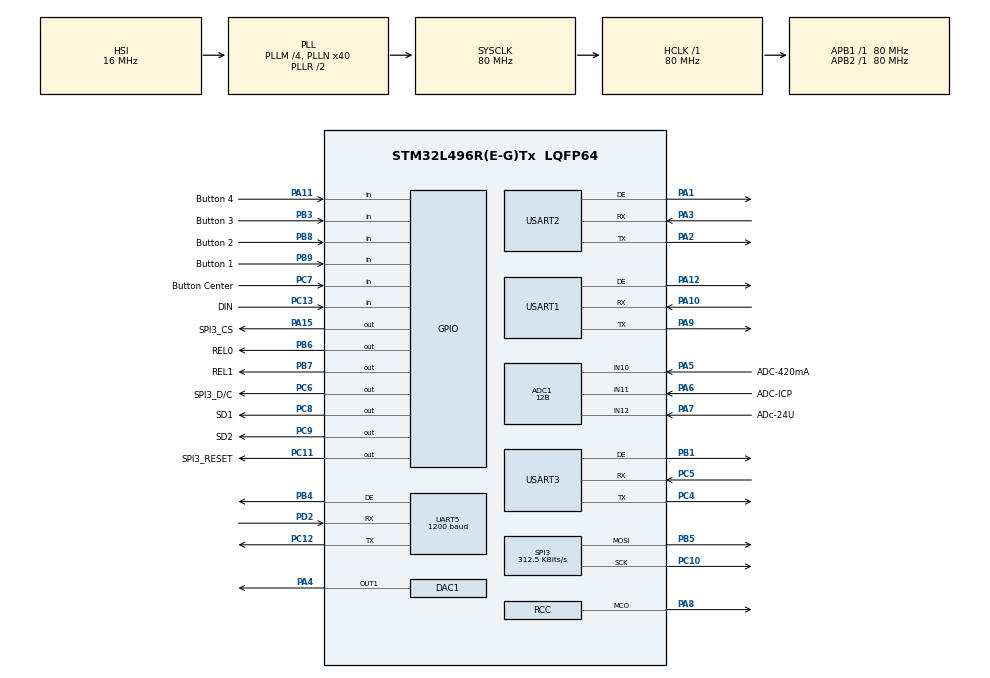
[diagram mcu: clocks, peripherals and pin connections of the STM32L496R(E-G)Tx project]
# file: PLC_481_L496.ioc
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ADC1.Channel-0\#ChannelRegularConversion=ADC_CHANNEL_11
ADC1.Channel-1\#ChannelRegularConversion=ADC_CHANNEL_10
ADC1.ClockPrescaler=ADC_CLOCK_ASYNC_DIV1
ADC1.ContinuousConvMode=DISABLE
ADC1.DMAContinuousRequests=ENABLE
ADC1.DataAlign=ADC_DATAALIGN_RIGHT
ADC1.DiscontinuousConvMode=DISABLE
ADC1.EOCSelection=ADC_EOC_SINGLE_CONV
ADC1.EnableAnalogWatchDog1=false
ADC1.EnableAnalogWatchDog2=false
ADC1.EnableAnalogWatchDog3=false
ADC1.EnableInjectedConversion=ENABLE
ADC1.EnableRegularConversion=ENABLE
ADC1.ExternalTrigConv=ADC_EXTERNALTRIG_T6_TRGO
ADC1.ExternalTrigConvEdge=ADC_EXTERNALTRIGCONVEDGE_RISING
ADC1.InjNumberOfConversion=1
ADC1.InjectedChannel-2\#ChannelInjectedConversion=ADC_CHANNEL_12
ADC1.InjectedOffsetNumber-2\#ChannelInjectedConversion=ADC_OFFSET_NONE
ADC1.InjectedRank-2\#ChannelInjectedConversion=1
ADC1.InjectedSamplingTime-2\#ChannelInjectedConversion=ADC_SAMPLETIME_24CYCLES_5
ADC1.LowPowerAutoWait=DISABLE
ADC1.NbrOfConversion=2
ADC1.NbrOfConversionFlag=1
ADC1.OffsetNumber-0\#ChannelRegularConversion=ADC_OFFSET_NONE
ADC1.OffsetNumber-1\#ChannelRegularConversion=ADC_OFFSET_NONE
ADC1.Overrun=ADC_OVR_DATA_PRESERVED
ADC1.OversamplingMode=DISABLE
ADC1.Rank-0\#ChannelRegularConversion=1
ADC1.Rank-1\#ChannelRegularConversion=2
ADC1.Resolution=ADC_RESOLUTION_12B
ADC1.SamplingTime-0\#ChannelRegularConversion=ADC_SAMPLETIME_24CYCLES_5
ADC1.SamplingTime-1\#ChannelRegularConversion=ADC_SAMPLETIME_24CYCLES_5
ADC1.ScanConvMode=ADC_SCAN_ENABLE
ADC1.master=1
Dma.ADC1.0.Direction=DMA_PERIPH_TO_MEMORY
Dma.ADC1.0.Instance=DMA1_Channel1
Dma.ADC1.0.MemDataAlignment=DMA_MDATAALIGN_HALFWORD
Dma.ADC1.0.MemInc=DMA_MINC_ENABLE
Dma.ADC1.0.Mode=DMA_CIRCULAR
Dma.ADC1.0.PeriphDataAlignment=DMA_PDATAALIGN_HALFWORD
Dma.ADC1.0.PeriphInc=DMA_PINC_DISABLE
Dma.ADC1.0.Priority=DMA_PRIORITY_LOW
Dma.Request0=ADC1
Dma.Request1=UART5_RX
Dma.Request2=UART5_TX
Dma.Request3=USART1_RX
Dma.Request4=USART1_TX
Dma.Request5=USART3_RX
Dma.Request6=USART3_TX
Dma.Request7=USART2_RX
Dma.Request8=USART2_TX
Dma.UART5_RX.1.Direction=DMA_PERIPH_TO_MEMORY
Dma.UART5_RX.1.Instance=DMA2_Channel2
Dma.UART5_RX.1.MemDataAlignment=DMA_MDATAALIGN_BYTE
Dma.UART5_RX.1.MemInc=DMA_MINC_ENABLE
Dma.UART5_RX.1.Mode=DMA_NORMAL
Dma.UART5_RX.1.PeriphDataAlignment=DMA_PDATAALIGN_BYTE
Dma.UART5_RX.1.PeriphInc=DMA_PINC_DISABLE
Dma.UART5_RX.1.Priority=DMA_PRIORITY_LOW
Dma.UART5_TX.2.Direction=DMA_MEMORY_TO_PERIPH
Dma.UART5_TX.2.Instance=DMA2_Channel1
Dma.UART5_TX.2.MemDataAlignment=DMA_MDATAALIGN_BYTE
Dma.UART5_TX.2.MemInc=DMA_MINC_ENABLE
Dma.UART5_TX.2.Mode=DMA_NORMAL
Dma.UART5_TX.2.PeriphDataAlignment=DMA_PDATAALIGN_BYTE
Dma.UART5_TX.2.PeriphInc=DMA_PINC_DISABLE
Dma.UART5_TX.2.Priority=DMA_PRIORITY_LOW
Dma.USART1_RX.3.Direction=DMA_PERIPH_TO_MEMORY
Dma.USART1_RX.3.Instance=DMA1_Channel5
Dma.USART1_RX.3.MemDataAlignment=DMA_MDATAALIGN_BYTE
Dma.USART1_RX.3.MemInc=DMA_MINC_ENABLE
Dma.USART1_RX.3.Mode=DMA_NORMAL
Dma.USART1_RX.3.PeriphDataAlignment=DMA_PDATAALIGN_BYTE
Dma.USART1_RX.3.PeriphInc=DMA_PINC_DISABLE
Dma.USART1_RX.3.Priority=DMA_PRIORITY_LOW
Dma.USART1_TX.4.Direction=DMA_MEMORY_TO_PERIPH
Dma.USART1_TX.4.Instance=DMA1_Channel4
Dma.USART1_TX.4.MemDataAlignment=DMA_MDATAALIGN_BYTE
Dma.USART1_TX.4.MemInc=DMA_MINC_ENABLE
Dma.USART1_TX.4.Mode=DMA_NORMAL
Dma.USART1_TX.4.PeriphDataAlignment=DMA_PDATAALIGN_BYTE
Dma.USART1_TX.4.PeriphInc=DMA_PINC_DISABLE
Dma.USART1_TX.4.Priority=DMA_PRIORITY_LOW
Dma.USART2_RX.7.Direction=DMA_PERIPH_TO_MEMORY
Dma.USART2_RX.7.Instance=DMA1_Channel6
Dma.USART2_RX.7.MemDataAlignment=DMA_MDATAALIGN_BYTE
Dma.USART2_RX.7.MemInc=DMA_MINC_ENABLE
Dma.USART2_RX.7.Mode=DMA_NORMAL
Dma.USART2_RX.7.PeriphDataAlignment=DMA_PDATAALIGN_BYTE
Dma.USART2_RX.7.PeriphInc=DMA_PINC_DISABLE
Dma.USART2_RX.7.Priority=DMA_PRIORITY_LOW
Dma.USART2_TX.8.Direction=DMA_MEMORY_TO_PERIPH
Dma.USART2_TX.8.Instance=DMA1_Channel7
Dma.USART2_TX.8.MemDataAlignment=DMA_MDATAALIGN_BYTE
Dma.USART2_TX.8.MemInc=DMA_MINC_ENABLE
Dma.USART2_TX.8.Mode=DMA_NORMAL
Dma.USART2_TX.8.PeriphDataAlignment=DMA_PDATAALIGN_BYTE
Dma.USART2_TX.8.PeriphInc=DMA_PINC_DISABLE
Dma.USART2_TX.8.Priority=DMA_PRIORITY_LOW
Dma.USART3_RX.5.Direction=DMA_PERIPH_TO_MEMORY
Dma.USART3_RX.5.Instance=DMA1_Channel3
Dma.USART3_RX.5.MemDataAlignment=DMA_MDATAALIGN_BYTE
Dma.USART3_RX.5.MemInc=DMA_MINC_ENABLE
Dma.USART3_RX.5.Mode=DMA_NORMAL
Dma.USART3_RX.5.PeriphDataAlignment=DMA_PDATAALIGN_BYTE
Dma.USART3_RX.5.PeriphInc=DMA_PINC_DISABLE
Dma.USART3_RX.5.Priority=DMA_PRIORITY_LOW
Dma.USART3_TX.6.Direction=DMA_MEMORY_TO_PERIPH
Dma.USART3_TX.6.Instance=DMA1_Channel2
Dma.USART3_TX.6.MemDataAlignment=DMA_MDATAALIGN_BYTE
Dma.USART3_TX.6.MemInc=DMA_MINC_ENABLE
Dma.USART3_TX.6.Mode=DMA_NORMAL
Dma.USART3_TX.6.PeriphDataAlignment=DMA_PDATAALIGN_BYTE
Dma.USART3_TX.6.PeriphInc=DMA_PINC_DISABLE
Dma.USART3_TX.6.Priority=DMA_PRIORITY_LOW
FREERTOS.Tasks01=defaultTask,-3,128,StartDefaultTask,Default,NULL,Dynamic,NULL,NULL;myTask02,0,128,Acceleration_Task,Default,NULL,Dynamic,NULL,NULL;myTask03,0,128,Velocity_Task,Default,NULL,Dynamic,NULL,NULL;myTask04,0,128,Displacement_Task,Default,NULL,Dynamic,NULL,NULL;myTask05,0,128,Q_Average_A,Default,NULL,Dynamic,NULL,NULL;myTask06,0,128,Q_Average_V,Default,NULL,Dynamic,NULL,NULL;myTask07,0,128,Q_Average_D,Default,NULL,Dynamic,NULL,NULL;myTask08,0,128,ADC_supply_voltage,Default,NULL,Dynamic,NULL,NULL;myTask09,0,128,Lights_Task,Default,NULL,Dynamic,NULL,NULL;myTask10,0,128,DAC_Task,Default,NULL,Dynamic,NULL,NULL;myTask11,0,128,Display_Task,Default,NULL,Dynamic,NULL,NULL;myTask12,0,128,Button_Task,Default,NULL,Dynamic,NULL,NULL;myTask13,0,128,Modbus_Receive_Task,Default,NULL,Dynamic,NULL,NULL;myTask14,0,128,Modbus_Transmit_Task,Default,NULL,Dynamic,NULL,NULL;myTask15,0,128,Master_Modbus_Receive,Default,NULL,Dynamic,NULL,NULL;myTask16,0,128,Master_Modbus_Transmit,Default,NULL,Dynamic,NULL,NULL;myTask17,0,128,Data_Storage_Task,Default,NULL,Dynamic,NULL,NULL;myTask18,0,128,TriggerLogic_Task,Default,NULL,Dynamic,NULL,NULL;myTask19,0,128,Relay_1_Task,Default,NULL,Dynamic,NULL,NULL;myTask20,0,128,Relay_2_Task,Default,NULL,Dynamic,NULL,NULL;myTask21,0,128,HART_Receive_Task,Default,NULL,Dynamic,NULL,NULL;myTask22,0,128,HART_Transmit_Task,Default,NULL,Dynamic,NULL,NULL;myTask23,0,128,TBUS_Modbus_Receive_Task,Default,NULL,Dynamic,NULL,NULL;myTask24,0,128,TBUS_Modbus_Transmit_Task,Default,NULL,Dynamic,NULL,NULL;myTask25,0,128,Update_Bootloader_Task,Default,NULL,Dynamic,NULL,NULL;myTask26,0,128,Erase_Bootloader_Task,Default,NULL,Dynamic,NULL,NULL
FREERTOS.configCHECK_FOR_STACK_OVERFLOW=1
FREERTOS.configGENERATE_RUN_TIME_STATS=1
FREERTOS.configTOTAL_HEAP_SIZE=40960
FREERTOS.configUSE_IDLE_HOOK=1
IWDG.Prescaler=IWDG_PRESCALER_32
IWDG.Reload=2048
Mcu.Family=STM32L4
Mcu.Name=STM32L496R(E-G)Tx
Mcu.Package=LQFP64
NVIC.DMA1_Channel1_IRQn=true\:5\:0\:false\:false\:true\:true\:false
NVIC.DMA1_Channel2_IRQn=true\:5\:0\:false\:false\:true\:true\:false
NVIC.DMA1_Channel3_IRQn=true\:5\:0\:false\:false\:true\:true\:false
NVIC.DMA1_Channel4_IRQn=true\:5\:0\:false\:false\:true\:true\:false
NVIC.DMA1_Channel5_IRQn=true\:5\:0\:false\:false\:true\:true\:false
NVIC.DMA1_Channel6_IRQn=true\:5\:0\:false\:false\:true\:true\:false
NVIC.DMA1_Channel7_IRQn=true\:5\:0\:false\:false\:true\:true\:false
NVIC.DMA2_Channel1_IRQn=true\:5\:0\:false\:false\:true\:true\:false
NVIC.DMA2_Channel2_IRQn=true\:5\:0\:false\:false\:true\:true\:false
NVIC.PriorityGroup=NVIC_PRIORITYGROUP_4
NVIC.TIM1_UP_TIM16_IRQn=true\:0\:0\:false\:false\:true\:false\:false
NVIC.TIM6_DAC_IRQn=true\:5\:0\:false\:false\:true\:true\:true
NVIC.TIM7_IRQn=true\:5\:0\:false\:false\:true\:true\:true
NVIC.TimeBase=TIM1_UP_TIM16_IRQn
NVIC.TimeBaseIP=TIM1
NVIC.UART5_IRQn=true\:5\:0\:false\:false\:true\:true\:true
NVIC.USART1_IRQn=true\:5\:0\:false\:false\:true\:true\:true
NVIC.USART2_IRQn=true\:5\:0\:false\:false\:true\:true\:true
NVIC.USART3_IRQn=true\:5\:0\:false\:false\:true\:true\:true
PA1.Mode=Hardware Flow Control (RS485)
PA1.Signal=USART2_DE
PA10.Mode=Asynchronous
PA10.Signal=USART1_RX
PA11.GPIO_Label=Button 4
PA11.GPIO_PuPd=GPIO_PULLUP
PA11.Signal=GPIO_Input
PA12.Mode=Hardware Flow Control (RS485)
PA12.Signal=USART1_DE
PA13\ (JTMS/SWDIO).Mode=Serial_Wire
PA13\ (JTMS/SWDIO).Signal=SYS_JTMS-SWDIO
PA14\ (JTCK/SWCLK).Mode=Serial_Wire
PA14\ (JTCK/SWCLK).Signal=SYS_JTCK-SWCLK
PA15\ (JTDI).GPIO_Label=SPI3_CS
PA15\ (JTDI).Signal=GPIO_Output
PA2.Mode=Asynchronous
PA2.Signal=USART2_TX
PA3.Mode=Asynchronous
PA3.Signal=USART2_RX
PA4.Signal=COMP_DAC11_group
PA5.GPIO_Label=ADC-420mA
PA5.Signal=ADCx_IN10
PA6.GPIO_Label=ADC-ICP
PA6.Signal=ADCx_IN11
PA7.GPIO_Label=ADc-24U
PA7.Signal=ADCx_IN12
PA8.Mode=Clock-out
PA8.Signal=RCC_MCO
PA9.Mode=Asynchronous
PA9.Signal=USART1_TX
PB1.Mode=Hardware Flow Control (RS485)
PB1.Signal=USART3_DE
PB3\ (JTDO/TRACESWO).GPIO_Label=Button 3
PB3\ (JTDO/TRACESWO).GPIO_PuPd=GPIO_PULLUP
PB3\ (JTDO/TRACESWO).Signal=GPIO_Input
PB4\ (NJTRST).Mode=Hardware Flow Control (RS485)
PB4\ (NJTRST).Signal=UART5_DE
PB5.Mode=TX_Only_Simplex_Unidirect_Master
PB5.Signal=SPI3_MOSI
PB6.GPIO_Label=REL0
PB6.Signal=GPIO_Output
PB7.GPIO_Label=REL1
PB7.Signal=GPIO_Output
PB8.GPIO_Label=Button 2
PB8.GPIO_PuPd=GPIO_PULLUP
PB8.Signal=GPIO_Input
PB9.GPIO_Label=Button 1
PB9.GPIO_PuPd=GPIO_PULLUP
PB9.Signal=GPIO_Input
PC10.Mode=TX_Only_Simplex_Unidirect_Master
PC10.Signal=SPI3_SCK
PC11.GPIO_Label=SPI3_RESET
PC11.Signal=GPIO_Output
PC12.Mode=Asynchronous
PC12.Signal=UART5_TX
PC13.GPIO_Label=DIN
PC13.GPIO_PuPd=GPIO_PULLUP
PC13.Signal=GPIO_Input
PC14-OSC32_IN\ (PC14).Mode=LSE-External-Oscillator
PC14-OSC32_IN\ (PC14).Signal=RCC_OSC32_IN
PC15-OSC32_OUT\ (PC15).Mode=LSE-External-Oscillator
PC15-OSC32_OUT\ (PC15).Signal=RCC_OSC32_OUT
PC4.Mode=Asynchronous
PC4.Signal=USART3_TX
PC5.Mode=Asynchronous
PC5.Signal=USART3_RX
PC6.GPIO_Label=SPI3_D/C
PC6.Signal=GPIO_Output
PC7.GPIO_Label=Button Center
PC7.GPIO_PuPd=GPIO_PULLUP
PC7.Signal=GPIO_Input
PC8.GPIO_Label=SD1
PC8.Signal=GPIO_Output
PC9.GPIO_Label=SD2
PC9.Signal=GPIO_Output
PD2.Mode=Asynchronous
PD2.Signal=UART5_RX
PH0-OSC_IN\ (PH0).Mode=HSE-External-Oscillator
PH0-OSC_IN\ (PH0).Signal=RCC_OSC_IN
PH1-OSC_OUT\ (PH1).Mode=HSE-External-Oscillator
PH1-OSC_OUT\ (PH1).Signal=RCC_OSC_OUT
ProjectManager.HeapSize=0x200
ProjectManager.StackSize=0x400
ProjectManager.TargetToolchain=MDK-ARM V5
RCC.ADCFreq_Value=32000000
RCC.AHBFreq_Value=80000000
RCC.APB1Freq_Value=80000000
RCC.APB1TimFreq_Value=80000000
RCC.APB2Freq_Value=80000000
RCC.APB2TimFreq_Value=80000000
RCC.CortexFreq_Value=80000000
RCC.HCLKFreq_Value=80000000
RCC.HSE_VALUE=14745600
RCC.HSI48_VALUE=48000000
RCC.HSI_VALUE=16000000
RCC.MSI_VALUE=4000000
RCC.PLLM=4
RCC.PLLN=40
RCC.PLLSAI1N=16
RCC.PLLSourceVirtual=RCC_PLLSOURCE_HSI
RCC.RCC_MCO1Source=RCC_MCO1SOURCE_HSE
RCC.RCC_MCODiv=RCC_MCODIV_4
RCC.SYSCLKFreq_VALUE=80000000
RCC.SYSCLKSource=RCC_SYSCLKSOURCE_PLLCLK
RCC.UART5CLockSelection=RCC_UART5CLKSOURCE_HSI
RCC.USBFreq_Value=32000000
RCC.VCOOutputFreq_Value=160000000
SH.ADCx_IN10.0=ADC1_IN10,IN10-Single-Ended
SH.ADCx_IN11.0=ADC1_IN11,IN11-Single-Ended
SH.ADCx_IN12.0=ADC1_IN12,IN12-Single-Ended
SH.COMP_DAC11_group.0=DAC1_OUT1,DAC_OUT1
SPI3.BaudRatePrescaler=SPI_BAUDRATEPRESCALER_256
SPI3.CLKPhase=SPI_PHASE_2EDGE
SPI3.CLKPolarity=SPI_POLARITY_HIGH
SPI3.CalculateBaudRate=312.5 KBits/s
SPI3.DataSize=SPI_DATASIZE_8BIT
SPI3.Direction=SPI_DIRECTION_2LINES
SPI3.Mode=SPI_MODE_MASTER
SPI3.VirtualType=VM_MASTER
TIM2.Period=0xffffffff
TIM2.Prescaler=8000
TIM6.Period=3124
TIM6.TIM_MasterOutputTrigger=TIM_TRGO_UPDATE
TIM7.Period=999
TIM7.Prescaler=8000-1
TIM7.TIM_MasterOutputTrigger=TIM_TRGO_UPDATE
UART5.BaudRate=1200
UART5.StopBits=UART_STOPBITS_2
UART5.SwapParam=UART_ADVFEATURE_SWAP_DISABLE
UART5.UART_DEAssertionTime=31
UART5.UART_DEDeassertionTime=31
UART5.UART_DEPolarity=UART_DE_POLARITY_LOW
USART1.AutoBaudRateEnableParam=UART_ADVFEATURE_AUTOBAUDRATE_DISABLE
USART1.BaudRate=baud_rate_uart_1
USART1.OverrunDisableParam=ADVFEATURE_OVERRUN_DISABLE
USART1.UART_DEAssertionTime=1
USART1.UART_DEDeassertionTime=1
USART1.VirtualMode-Asynchronous=VM_ASYNC
USART1.VirtualMode-Hardware\ Flow\ Control\ (RS485)=VM_ASYNC
USART2.AutoBaudRateEnableParam=UART_ADVFEATURE_AUTOBAUDRATE_DISABLE
USART2.BaudRate=baud_rate_uart_2
USART2.OverrunDisableParam=ADVFEATURE_OVERRUN_DISABLE
USART2.UART_DEAssertionTime=1
USART2.UART_DEDeassertionTime=1
USART2.VirtualMode-Asynchronous=VM_ASYNC
USART2.VirtualMode-Hardware\ Flow\ Control\ (RS485)=VM_ASYNC
USART3.AutoBaudRateEnableParam=UART_ADVFEATURE_AUTOBAUDRATE_DISABLE
USART3.BaudRate=baud_rate_uart_3
USART3.OverrunDisableParam=ADVFEATURE_OVERRUN_DISABLE
USART3.UART_DEAssertionTime=1
USART3.UART_DEDeassertionTime=1
USART3.VirtualMode-Asynchronous=VM_ASYNC
USART3.VirtualMode-Hardware\ Flow\ Control\ (RS485)=VM_ASYNC
VP_FREERTOS_VS_ENABLE.Mode=Enabled
VP_IWDG_VS_IWDG.Mode=IWDG_Activate
VP_SYS_VS_tim1.Mode=TIM1
VP_TIM2_VS_ClockSourceINT.Mode=Internal
VP_TIM6_VS_ClockSourceINT.Mode=Enable_Timer
VP_TIM7_VS_ClockSourceINT.Mode=Enable_Timer
board=custom

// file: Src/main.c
/**
  ******************************************************************************
  * @file           : main.c
  * @brief          : Main program body
  ******************************************************************************
  * This notice applies to any and all portions of this file
  * that are not between comment pairs USER CODE BEGIN and
  * USER CODE END. Other portions of this file, whether
  * inserted by the user or by software development tools
  * are owned by their respective copyright owners.
  *
  * Copyright (c) 2018 STMicroelectronics International N.V.
  * All rights reserved.
  *
  * Redistribution and use in source and binary forms, with or without
  * modification, are permitted, provided that the following conditions are met:
  *
  * 1. Redistribution of source code must retain the above copyright notice,
  *    this list of conditions and the following disclaimer.
  * 2. Redistributions in binary form must reproduce the above copyright notice,
  *    this list of conditions and the following disclaimer in the documentation
  *    and/or other materials provided with the distribution.
  * 3. Neither the name of STMicroelectronics nor the names of other
  *    contributors to this software may be used to endorse or promote products
  *    derived from this software without specific written permission.
  * 4. This software, including modifications and/or derivative works of this
  *    software, must execute solely and exclusively on microcontroller or
  *    microprocessor devices manufactured by or for STMicroelectronics.
  * 5. Redistribution and use of this software other than as permitted under
  *    this license is void and will automatically terminate your rights under
  *    this license.
  *
  * THIS SOFTWARE IS PROVIDED BY STMICROELECTRONICS AND CONTRIBUTORS "AS IS"
  * AND ANY EXPRESS, IMPLIED OR STATUTORY WARRANTIES, INCLUDING, BUT NOT
  * LIMITED TO, THE IMPLIED WARRANTIES OF MERCHANTABILITY, FITNESS FOR A
  * PARTICULAR PURPOSE AND NON-INFRINGEMENT OF THIRD PARTY INTELLECTUAL PROPERTY
  * RIGHTS ARE DISCLAIMED TO THE FULLEST EXTENT PERMITTED BY LAW. IN NO EVENT
  * SHALL STMICROELECTRONICS OR CONTRIBUTORS BE LIABLE FOR ANY DIRECT, INDIRECT,
  * INCIDENTAL, SPECIAL, EXEMPLARY, OR CONSEQUENTIAL DAMAGES (INCLUDING, BUT NOT
  * LIMITED TO, PROCUREMENT OF SUBSTITUTE GOODS OR SERVICES; LOSS OF USE, DATA,
  * OR PROFITS; OR BUSINESS INTERRUPTION) HOWEVER CAUSED AND ON ANY THEORY OF
  * LIABILITY, WHETHER IN CONTRACT, STRICT LIABILITY, OR TORT (INCLUDING
  * NEGLIGENCE OR OTHERWISE) ARISING IN ANY WAY OUT OF THE USE OF THIS SOFTWARE,
  * EVEN IF ADVISED OF THE POSSIBILITY OF SUCH DAMAGE.
  *
  ******************************************************************************
  */
#include "main.h"
#include "stm32l4xx_hal.h"
#include "cmsis_os.h"
#include "adc.h"
#include "dac.h"
#include "dma.h"
#include "iwdg.h"
#include "spi.h"
#include "tim.h"
#include "usart.h"
#include "gpio.h"

/* USER CODE BEGIN PV */
/* Private variables ---------------------------------------------------------*/
extern uint16_t raw_adc_value[ADC_BUFFER_SIZE];

volatile uint64_t cpu_load2 = 0;
volatile uint32_t count_idle;
volatile uint32_t value = 0;
volatile uint32_t freeHeapSize = 0;
volatile uint32_t timer_100ms = 0;

extern volatile uint64_t xTimeBefore, xTotalTimeSuspended;

volatile uint32_t temp1 = 0;
volatile uint32_t temp2 = 0;
volatile uint32_t temp3 = 0;
volatile uint32_t temp4 = 0;

extern uint8_t queue_count;
extern float32_t qrms;
extern float32_t qrms_array[8];

extern xQueueHandle queue;

extern xSemaphoreHandle Semaphore1, Semaphore2, Semaphore3, Semaphore4;

uint8_t status_flash_reg = 0;
extern uint16_t settings[REG_COUNT];
extern uint16_t default_settings[REG_COUNT];

extern DMA_HandleTypeDef hdma_adc1;

void convert_float_and_swap(float32_t float_in, uint16_t* int_out);
void convert_double_and_swap(float64_t double_in, uint16_t* int_out);

extern float32_t break_level_icp;
extern uint16_t slave_adr_mb_master;
extern uint16_t slave_func_mb_master;
extern uint16_t slave_reg_mb_master;
extern uint16_t mb_master_timeout;
extern uint16_t quantity_reg_mb_master;
extern uint16_t coef_A_mb_master;

extern float32_t lo_warning_icp;
extern float32_t hi_warning_icp;
extern float32_t lo_emerg_icp;
extern float32_t hi_emerg_icp;
extern float32_t icp_coef_K;
extern float32_t icp_coef_B;
extern float32_t range_icp;
extern uint8_t filter_mode_icp;

extern float32_t lo_warning_420;
extern float32_t hi_warning_420;
extern float32_t lo_emerg_420;
extern float32_t hi_emerg_420;
extern float32_t coef_ampl_420;
extern float32_t coef_offset_420;
extern float32_t up_user_range_4_20;
extern float32_t down_user_range_4_20;
extern float32_t out_4_20_coef_K;
extern float32_t out_4_20_coef_B;

extern float32_t lo_warning_485;
extern float32_t hi_warning_485;
extern float32_t lo_emerg_485;
extern float32_t hi_emerg_485;

extern uint16_t mode_relay;
extern uint8_t source_signal_relay;
extern uint16_t delay_relay;
extern uint16_t delay_relay_exit;

extern uint16_t slave_adr;
extern uint16_t warming_up;
extern float32_t power_supply_warning_lo;
extern float32_t power_supply_warning_hi;

extern float32_t baud_rate_uart_1;
extern float32_t baud_rate_uart_2;
extern float32_t baud_rate_uart_3;
uint32_t boot_timer_counter;
extern uint8_t bootloader_state;
extern uint8_t receiveBuffer[16];

extern uint16_t channel_ICP_ON;
extern uint16_t channel_4_20_ON;
extern uint16_t channel_485_ON;

volatile uint16_t timer_485_counter = 0;
extern uint8_t break_sensor_485;

extern uint8_t hart_switch_on;
extern uint16_t hart_slave_address;
extern uint16_t hart_slave_numreg;
extern uint8_t hart_func;
extern uint16_t hart_regs_qty;
extern uint16_t hart_timeout_transmit;
extern uint16_t hart_time_poll;

extern uint16_t icp_menu_points_for_showing;
extern uint16_t menu_485_points_for_showing;

extern uint16_t hysteresis_TOC;
extern uint16_t impulse_sign;

extern uint8_t flag_delay_relay_1_4_20;
extern uint8_t relay_permission_1_4_20;
extern uint8_t flag_delay_relay_2_4_20;
extern uint8_t relay_permission_2_4_20;
extern uint16_t timer_delay_relay_1_4_20;
extern uint16_t timer_delay_relay_2_4_20;

extern uint8_t flag_delay_relay_1_icp;
extern uint8_t relay_permission_1_icp;
extern uint16_t timer_delay_relay_1_icp;
extern uint8_t flag_delay_relay_2_icp;
extern uint8_t relay_permission_2_icp;
extern uint16_t timer_delay_relay_2_icp;

extern struct mb_master_delay_relay master_delay_relay_array[REG_485_QTY];

extern uint8_t quit_relay_button;
uint8_t quit_timer = 0;

extern uint8_t adc_bunch;
extern uint16_t bunch_count_1;
extern uint16_t bunch_count_2;

extern xSemaphoreHandle Semaphore_Acceleration;

extern uint8_t worker_status;

extern uint16_t size_moving_average_ZSK;
extern uint64_t trigger_485_ZSK;

volatile uint32_t warm_timer = 0;
extern uint16_t warming_up;
extern uint8_t warming_flag;
/* USER CODE END PV */

void SystemClock_Config(void);
void MX_FREERTOS_Init(void);

/* USER CODE BEGIN PFP */
/* Private function prototypes -----------------------------------------------*/

/* USER CODE END PFP */

int main(void)
{
	__disable_irq();

  /* MCU Configuration----------------------------------------------------------*/

  /* Reset of all peripherals, Initializes the Flash interface and the Systick. */
  HAL_Init();

  /* Configure the system clock */
  SystemClock_Config();

  /* USER CODE BEGIN SysInit */

	//Читаем параметры и уставки из flash
	read_init_settings();

  /* USER CODE END SysInit */

  /* Initialize all configured peripherals */
  MX_GPIO_Init();
  MX_DMA_Init();
  MX_ADC1_Init();
  MX_DAC1_Init();
  MX_SPI3_Init();
  MX_UART5_Init();
  MX_USART1_UART_Init();
  MX_USART2_UART_Init();
  MX_USART3_UART_Init();
  MX_TIM6_Init();
  MX_TIM7_Init();
  MX_TIM2_Init();
  MX_IWDG_Init();
  /* USER CODE BEGIN 2 */

	//Инициализация фильтров
	FilterInit();

	HAL_TIM_Base_Start_IT(&htim6);
	HAL_TIM_Base_Start_IT(&htim7);

	HAL_ADC_Start_DMA(&hadc1, (uint32_t*) &raw_adc_value, RAW_ADC_BUFFER_SIZE);
	//__HAL_DMA_DISABLE_IT(&hdma_adc1, DMA_IT_HT); /* Disable the half transfer interrupt */

	HAL_DAC_Start(&hdac1,DAC_CHANNEL_1);

	__HAL_UART_ENABLE_IT(&huart1, UART_IT_RXNE);
	__HAL_UART_ENABLE_IT(&huart2, UART_IT_RXNE);
	__HAL_UART_ENABLE_IT(&huart3, UART_IT_RXNE);
	__HAL_UART_ENABLE_IT(&huart5, UART_IT_RXNE);

	//Проверка частоты тактирования (на PA8)
	//HAL_RCC_MCOConfig(RCC_MCO, RCC_MCO1SOURCE_SYSCLK, RCC_MCODIV_1);

//	//Set RTS (for HART Rx)
//	HAL_GPIO_WritePin(GPIOB, GPIO_PIN_4, GPIO_PIN_RESET);

	/* Enable the UART Transmit Complete Interrupt */
	//__HAL_UART_ENABLE_IT(&huart1, UART_IT_TC);

  /* USER CODE END 2 */

  /* Call init function for freertos objects (in freertos.c) */
  MX_FREERTOS_Init();

  /* Start scheduler */
  osKernelStart();

  /* We should never get here as control is now taken by the scheduler */

  /* Infinite loop */
  while (1)
  {

  }

}

void SystemClock_Config(void)
{

  RCC_OscInitTypeDef RCC_OscInitStruct;
  RCC_ClkInitTypeDef RCC_ClkInitStruct;
  RCC_PeriphCLKInitTypeDef PeriphClkInit;

    /**Initializes the CPU, AHB and APB busses clocks
    */
  RCC_OscInitStruct.OscillatorType = RCC_OSCILLATORTYPE_HSI|RCC_OSCILLATORTYPE_LSI
                              |RCC_OSCILLATORTYPE_HSE;
  RCC_OscInitStruct.HSEState = RCC_HSE_ON;
  RCC_OscInitStruct.HSIState = RCC_HSI_ON;
  RCC_OscInitStruct.HSICalibrationValue = 64;
  RCC_OscInitStruct.LSIState = RCC_LSI_ON;
  RCC_OscInitStruct.PLL.PLLState = RCC_PLL_ON;
  RCC_OscInitStruct.PLL.PLLSource = RCC_PLLSOURCE_HSI;
  RCC_OscInitStruct.PLL.PLLM = 4;
  RCC_OscInitStruct.PLL.PLLN = 40;
  RCC_OscInitStruct.PLL.PLLP = RCC_PLLP_DIV2;
  RCC_OscInitStruct.PLL.PLLQ = RCC_PLLQ_DIV2;
  RCC_OscInitStruct.PLL.PLLR = RCC_PLLR_DIV2;
  if (HAL_RCC_OscConfig(&RCC_OscInitStruct) != HAL_OK)
  {
    _Error_Handler(__FILE__, __LINE__);
  }

    /**Initializes the CPU, AHB and APB busses clocks
    */
  RCC_ClkInitStruct.ClockType = RCC_CLOCKTYPE_HCLK|RCC_CLOCKTYPE_SYSCLK
                              |RCC_CLOCKTYPE_PCLK1|RCC_CLOCKTYPE_PCLK2;
  RCC_ClkInitStruct.SYSCLKSource = RCC_SYSCLKSOURCE_PLLCLK;
  RCC_ClkInitStruct.AHBCLKDivider = RCC_SYSCLK_DIV1;
  RCC_ClkInitStruct.APB1CLKDivider = RCC_HCLK_DIV1;
  RCC_ClkInitStruct.APB2CLKDivider = RCC_HCLK_DIV1;

  if (HAL_RCC_ClockConfig(&RCC_ClkInitStruct, FLASH_LATENCY_4) != HAL_OK)
  {
    _Error_Handler(__FILE__, __LINE__);
  }

  PeriphClkInit.PeriphClockSelection = RCC_PERIPHCLK_USART1|RCC_PERIPHCLK_USART2
                              |RCC_PERIPHCLK_USART3|RCC_PERIPHCLK_UART5
                              |RCC_PERIPHCLK_ADC;
  PeriphClkInit.Usart1ClockSelection = RCC_USART1CLKSOURCE_PCLK2;
  PeriphClkInit.Usart2ClockSelection = RCC_USART2CLKSOURCE_PCLK1;
  PeriphClkInit.Usart3ClockSelection = RCC_USART3CLKSOURCE_PCLK1;
  PeriphClkInit.Uart5ClockSelection = RCC_UART5CLKSOURCE_HSI;
  PeriphClkInit.AdcClockSelection = RCC_ADCCLKSOURCE_PLLSAI1;
  PeriphClkInit.PLLSAI1.PLLSAI1Source = RCC_PLLSOURCE_HSI;
  PeriphClkInit.PLLSAI1.PLLSAI1M = 4;
  PeriphClkInit.PLLSAI1.PLLSAI1N = 16;
  PeriphClkInit.PLLSAI1.PLLSAI1P = RCC_PLLP_DIV2;
  PeriphClkInit.PLLSAI1.PLLSAI1Q = RCC_PLLQ_DIV2;
  PeriphClkInit.PLLSAI1.PLLSAI1R = RCC_PLLR_DIV2;
  PeriphClkInit.PLLSAI1.PLLSAI1ClockOut = RCC_PLLSAI1_ADC1CLK;
  if (HAL_RCCEx_PeriphCLKConfig(&PeriphClkInit) != HAL_OK)
  {
    _Error_Handler(__FILE__, __LINE__);
  }

  HAL_RCC_MCOConfig(RCC_MCO1, RCC_MCO1SOURCE_HSE, RCC_MCODIV_4);

    /**Configure the main internal regulator output voltage
    */
  if (HAL_PWREx_ControlVoltageScaling(PWR_REGULATOR_VOLTAGE_SCALE1) != HAL_OK)
  {
    _Error_Handler(__FILE__, __LINE__);
  }

    /**Configure the Systick interrupt time
    */
  HAL_SYSTICK_Config(HAL_RCC_GetHCLKFreq()/1000);

    /**Configure the Systick
    */
  HAL_SYSTICK_CLKSourceConfig(SYSTICK_CLKSOURCE_HCLK);

  /* SysTick_IRQn interrupt configuration */
  HAL_NVIC_SetPriority(SysTick_IRQn, 15, 0);
}

/* USER CODE BEGIN 4 */

void convert_float_and_swap(float32_t float_in, uint16_t* int_out)
{
	uint16_t temp = 0;

	memcpy(int_out, &float_in, sizeof(float32_t));

	temp = int_out[0];
	int_out[0] = int_out[1];
	int_out[1] = temp;
}

void convert_to_swFloat(float32_t float_in, uint16_t* int_out)
{
	uint16_t temp = 0;

	memcpy(int_out, &float_in, sizeof(float32_t));

	//temp = int_out[0];

//	int_out[0] = temp;
//	int_out[1] = int_out[1];
}

void convert_double_and_swap(float64_t double_in, uint16_t* int_out)
{
	uint16_t temp1 = 0;
	uint16_t temp2 = 0;

	memcpy(int_out, &double_in, sizeof(float64_t));

	temp1 = int_out[2];
	int_out[0] = int_out[3];
	int_out[1] = temp1;

	temp2 = int_out[0];
	int_out[2] = int_out[1];
	int_out[3] = temp2;
}

float32_t convert_hex_to_float(uint16_t* in, uint8_t index)
{
	taskENTER_CRITICAL();
	float32_t out = 0.0;

	uint32_t tmp = (in[index] << 16) + in[index+1];
	memcpy(&out, &tmp, sizeof out);
	taskEXIT_CRITICAL();
	return out;

}

void read_init_settings(void)
{

	//Чтение настроек
	status_flash_reg = read_registers_from_flash(&settings[0]);

//	//Загружаем "по-умолчанию" если не прочитали
//	if (status_flash_reg != 0)
//	{
//		for(int i=0; i< REG_COUNT; i++)
//			settings[i] = default_settings[i];
//	}

	baud_rate_uart_1 = convert_hex_to_float(&settings[0], 65);
	if (baud_rate_uart_1 == 0) baud_rate_uart_1 = 115200;

	baud_rate_uart_2 = convert_hex_to_float(&settings[0], 101);
	if (baud_rate_uart_2 == 0) baud_rate_uart_2 = 115200;

	baud_rate_uart_3 = convert_hex_to_float(&settings[0], 68);
	if (baud_rate_uart_3 == 0) baud_rate_uart_3 = 11520;

	//Преобразовываем значения из хранилища настроек в уставки/параметры (номер регистра из regmap - 1):
	lo_warning_icp = convert_hex_to_float(&settings[0], 2);
	hi_warning_icp = convert_hex_to_float(&settings[0], 4);
	lo_emerg_icp = convert_hex_to_float(&settings[0], 6);
	hi_emerg_icp = convert_hex_to_float(&settings[0], 8);
	break_level_icp = convert_hex_to_float(&settings[0], 11);
	icp_coef_K = convert_hex_to_float(&settings[0], 15);
	icp_coef_B = convert_hex_to_float(&settings[0], 17);
	filter_mode_icp = settings[19];
	range_icp = convert_hex_to_float(&settings[0], 20);
	icp_menu_points_for_showing = settings[29];

	trigger_485_ZSK = read_flash(0x8034000); //32 бита
	//trigger_485_ZSK |= read_flash(0x8034004);

	size_moving_average_ZSK = settings[33];
	if ( size_moving_average_ZSK < 1 || size_moving_average_ZSK > 512 ) size_moving_average_ZSK = 1;

	lo_warning_420 = convert_hex_to_float(&settings[0], 38);
	hi_warning_420 = convert_hex_to_float(&settings[0], 40);
	lo_emerg_420 = convert_hex_to_float(&settings[0], 42);
	hi_emerg_420 = convert_hex_to_float(&settings[0], 44);
	down_user_range_4_20 = convert_hex_to_float(&settings[0], 47);
	up_user_range_4_20 = convert_hex_to_float(&settings[0], 49);
	coef_ampl_420 = convert_hex_to_float(&settings[0], 51);
	coef_offset_420 = convert_hex_to_float(&settings[0], 53);

	menu_485_points_for_showing = settings[64];
	mb_master_timeout = settings[67];

	mode_relay = settings[84];
	delay_relay = settings[86];
	delay_relay_exit = settings[88];

	out_4_20_coef_K = convert_hex_to_float(&settings[0], 90);
	out_4_20_coef_B = convert_hex_to_float(&settings[0], 92);

	slave_adr = settings[100];
	warming_up = settings[109];

	power_supply_warning_lo = convert_hex_to_float(&settings[0], 110);
	power_supply_warning_hi = convert_hex_to_float(&settings[0], 112);

	channel_ICP_ON = settings[28];
	channel_4_20_ON = settings[57];
	channel_485_ON = settings[72];

	hart_switch_on = settings[114];
	hart_slave_address = settings[115];
	hart_func = settings[116];
	hart_slave_numreg = settings[117];
	hart_regs_qty = settings[118];
	hart_timeout_transmit = settings[119];

	impulse_sign = settings[135];
	hysteresis_TOC = settings[138];

}

void vApplicationIdleHook( void )
{

	count_idle++;
	freeHeapSize = xPortGetFreeHeapSize();
	HAL_IWDG_Refresh(&hiwdg);
}

void HAL_ADC_ConvHalfCpltCallback(ADC_HandleTypeDef* hadc)
{

		adc_bunch = 1;

		//HAL_ADC_Stop_DMA(&hadc1);

		if( Semaphore_Acceleration != NULL )
		{
						static signed portBASE_TYPE xHigherPriorityTaskWoken;
						xHigherPriorityTaskWoken = pdFALSE;
						xSemaphoreGiveFromISR(Semaphore_Acceleration, &xHigherPriorityTaskWoken);
						if( xHigherPriorityTaskWoken == pdTRUE )
						{
								portEND_SWITCHING_ISR(xHigherPriorityTaskWoken);
						}

		}

		//conv_complete_1++;
};

void HAL_ADC_ConvCpltCallback(ADC_HandleTypeDef* hadc)
{
			adc_bunch = 2;

			//HAL_ADC_Stop_DMA(&hadc1);

			if( Semaphore_Acceleration != NULL )
			{
							static signed portBASE_TYPE xHigherPriorityTaskWoken;
							xHigherPriorityTaskWoken = pdFALSE;
							xSemaphoreGiveFromISR(Semaphore_Acceleration, &xHigherPriorityTaskWoken);
							if( xHigherPriorityTaskWoken == pdTRUE )
							{
									portEND_SWITCHING_ISR(xHigherPriorityTaskWoken);
							}

			}

		 //conv_complete_2++;
};

/* USER CODE END 4 */

void HAL_TIM_PeriodElapsedCallback(TIM_HandleTypeDef *htim)
{
  if (htim->Instance == TIM1) {
    HAL_IncTick();
  }
  /* USER CODE BEGIN Callback 1 */
	if (htim->Instance == TIM7)
	{

		temp2++;

		if (temp2 >= 10) //1 сек.
		{
				temp1 = count_idle;
				count_idle = 0;
				temp2 = 0;

				//Таймер для режима обновления загрузчика
				if (bootloader_state == 1)
				{
					if (boot_timer_counter > 10)
					{
						bootloader_state = 0;
						worker_status = 0x00;

						receiveBuffer[1] = 0x00;
					}
					else boot_timer_counter++;
				}
				else
				{
					boot_timer_counter = 0;
				}

				//Таймер для Modbus Master
				timer_485_counter ++;
				if (timer_485_counter > TIME_BREAK_SENSOR_485)
				{
					break_sensor_485 = 1;
				}

				//Таймер для задержки на срабатывание реле 1 (канал 4-20)
				if (flag_delay_relay_1_4_20 == 1)
				{
					if (timer_delay_relay_1_4_20 == delay_relay)
					{
						relay_permission_1_4_20 = 1;
						timer_delay_relay_1_4_20 = 0;
					}
					else timer_delay_relay_1_4_20++;
				}

				//Таймер для задержки на срабатывание реле 2 (канал 4-20)
				if (flag_delay_relay_2_4_20 == 1)
				{
					if (timer_delay_relay_2_4_20 == delay_relay)
					{
						relay_permission_2_4_20 = 1;
						timer_delay_relay_2_4_20 = 0;
					}
					else timer_delay_relay_2_4_20++;
				}

				//Таймер для задержки на срабатывание реле 1 (канал icp)
				if (flag_delay_relay_1_icp == 1)
				{
					if (timer_delay_relay_1_icp == delay_relay)
					{
						relay_permission_1_icp = 1;
						timer_delay_relay_1_icp = 0;
					}
					else timer_delay_relay_1_icp++;
				}

				//Таймер для задержки на срабатывание реле 2 (канал icp)
				if (flag_delay_relay_2_icp == 1)
				{
					if (timer_delay_relay_2_icp == delay_relay)
					{
						relay_permission_2_icp = 1;
						timer_delay_relay_2_icp = 0;
					}
					else timer_delay_relay_2_icp++;
				}

				//Таймер для задержки на срабатывание реле (канал 485)
				for (uint8_t i = 0; i < REG_485_QTY; i++)
				{
						if (master_delay_relay_array[i].flag_delay_relay_1 == 1)
						{
							if (master_delay_relay_array[i].timer_delay_relay_1 == delay_relay)
							{
								master_delay_relay_array[i].relay_permission_1 = 1;
								master_delay_relay_array[i].timer_delay_relay_1 = 0;
							}
							else master_delay_relay_array[i].timer_delay_relay_1++;
						}

						if (master_delay_relay_array[i].flag_delay_relay_2 == 1)
						{
							if (master_delay_relay_array[i].timer_delay_relay_2 == delay_relay)
							{
								master_delay_relay_array[i].relay_permission_2 = 1;
								master_delay_relay_array[i].timer_delay_relay_2 = 0;
							}
							else master_delay_relay_array[i].timer_delay_relay_2++;
						}
				}

				if (quit_relay_button == 1)
				{
					if (quit_timer == QUIT_TIMER)
					{
						quit_relay_button = 0;
						quit_timer = 0;
					}
					else quit_timer++;
				}

		}

		//cpu_load = 100 - (100 * temp1 / 1350);
		cpu_load2 = 100 - (100 * temp1 / 1351854);

		//Таймер прогрева (мс.)
		if (warm_timer == warming_up)
		{
			warming_flag = 0;
		}
		else warm_timer += 100;

  }
  /* USER CODE END Callback 1 */
}

void _Error_Handler(char *file, int line)
{
  while(1)
  {
  }
}

/************************ (C) COPYRIGHT STMicroelectronics *****END OF FILE****/
